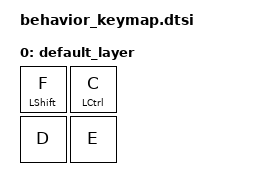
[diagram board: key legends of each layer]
#include <dt-bindings/zmk/keys.h>
#include <behaviors.dtsi>
#include <dt-bindings/zmk/kscan_mock.h>

/ {
    behaviors {
        ht_a: behavior_ht_a {
            compatible = "zmk,behavior-hold-tap";
            #binding-cells = <2>;
            flavor = "tap-preferred";
            tapping-term-ms = <300>;
            require-prior-idle-ms = <100>;
            require-prior-idle-exclude-keycodes = <D>;
            bindings = <&kp>, <&kp>;
        };
        ht_b: behavior_ht_b {
            compatible = "zmk,behavior-hold-tap";
            #binding-cells = <2>;
            flavor = "tap-preferred";
            tapping-term-ms = <300>;
            require-prior-idle-ms = <100>;
            require-prior-idle-exclude-keycodes = <E>;
            bindings = <&kp>, <&kp>;
        };
    };

    keymap {
        compatible = "zmk,keymap";

        default_layer {
            bindings = <
                &ht_a LEFT_SHIFT F &ht_b LEFT_CONTROL C
                &kp D &kp E>;
        };
    };
};
